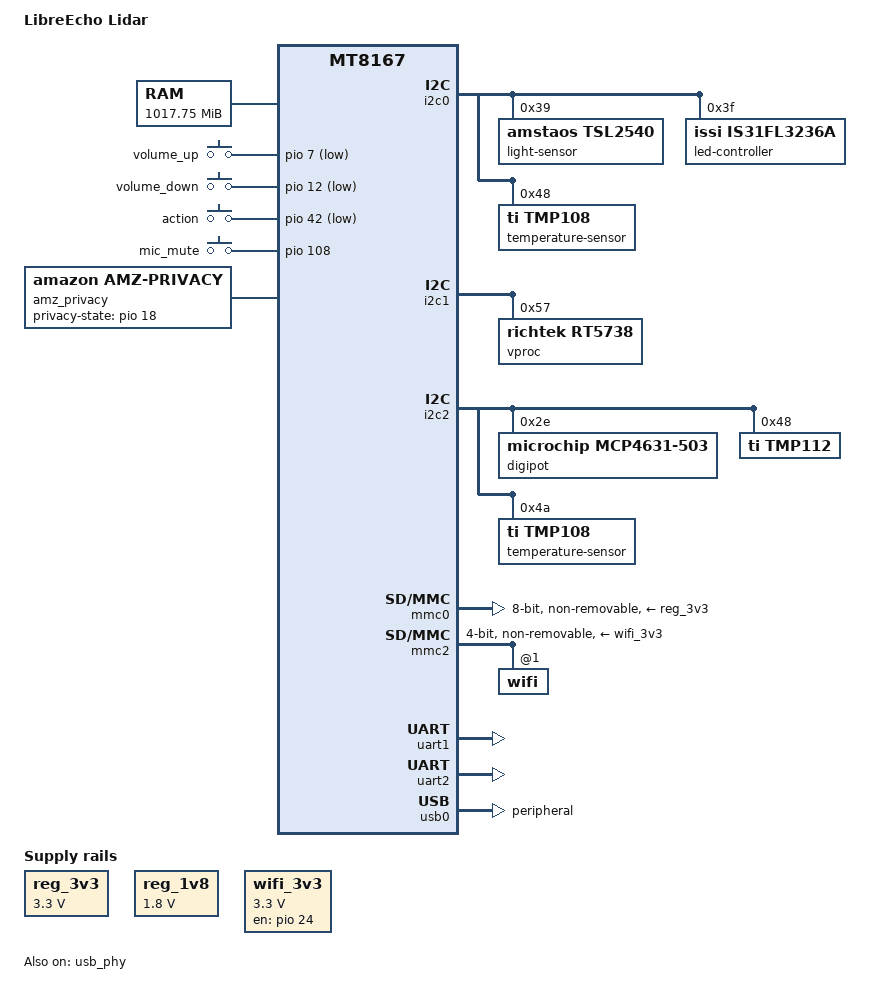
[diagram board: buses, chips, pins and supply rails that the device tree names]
// SPDX-License-Identifier: GPL-2.0
/*
 * LibreEcho Lidar - Amazon Echo Plus (2nd generation), MediaTek MT8167
 *
 * Board facts below come from the production stock device tree (boot_a.bin
 * appended FDT index 4, "amzn,lidar-pvt", sha256
 * b5302d9e4a672e7c2d06624d712746fe61fa30ed59183d85f253cec2775a730f) and the
 * stock kernel boot log.  Values that are inferred from upstream MT8167/
 * MT8516 support rather than observed in the stock tree are marked.
 *
 * The sound card, the AFE wiring and every codec node live in
 * libreecho-lidar-audio.dtsi, which this file includes at the end.
 */

/dts-v1/;

#include <dt-bindings/gpio/gpio.h>
#include <dt-bindings/input/input.h>
#include <dt-bindings/pinctrl/mt65xx.h>
#include "mt8167.dtsi"

/ {
	model = "LibreEcho Lidar";
	/*
	 * The first two entries are the stock PVT identity: LK scores appended
	 * DTBs against the idme board_id table, so a replacement DTB must keep
	 * them to be selected on stock firmware.  "amzn" is not a registered
	 * vendor prefix and these compatibles have no binding; they stay
	 * because the stock loader treats them as ABI.
	 */
	compatible = "amzn,lidar-pvt", "amzn,lidar", "mediatek,mt8167";

	aliases {
		serial0 = &uart0;
		serial1 = &uart1;
		serial2 = &uart2;
		i2c0 = &i2c0;
		i2c1 = &i2c1;
		i2c2 = &i2c2;
		/* SDIO host numbering: the MT7668 combo lands on mmc1. */
		mmc0 = &mmc0;
		mmc1 = &mmc2;
	};

	/*
	 * The stock tree's memory node says 0x20000000 (512 MiB), but the stock
	 * boot log reports 259984 pages and a memblock layout running to
	 * 0x7f9c0000: 1 GiB of DRAM at 0x40000000 minus the TEE carve-out at
	 * the top.  LK fixes up this node at boot; ending below the carve-out
	 * keeps the kernel off TEE memory even if a loader passes it unchanged.
	 */
	memory@40000000 {
		device_type = "memory";
		reg = <0 0x40000000 0 0x3f9c0000>;
	};

	reserved-memory {
		#address-cells = <2>;
		#size-cells = <2>;
		ranges;

		/*
		 * Inside the window the stock loader's `fetch` command can read,
		 * and outside every region this boot chain loads into: the
		 * kernel ends below 0x40950000, the ramdisk starts at
		 * 0x44000000, and LK's download window runs from 0x44fff000.
		 * One 0x10000 record, 0x40000 of console and 0x10000 of pmsg.
		 */
		ramoops@43810000 {
			compatible = "ramoops";
			reg = <0 0x43810000 0 0x60000>;
			record-size = <0x10000>;
			console-size = <0x40000>;
			pmsg-size = <0x10000>;
		};
	};

	/*
	 * The stock BL31 does not grant the kernel access to the PMU
	 * registers, so the armv8 PMU probe would hang once its driver is
	 * built in.
	 */
	pmu {
		status = "disabled";
	};

	/*
	 * The board has no PMIC: stock leaves pwrap disabled and gives it no
	 * child.  eMMC power comes from fixed rails (mmc_power 3.3 V,
	 * mmc_io 1.8 V), the CPU rail is the RT5739 buck on i2c1, and the
	 * SDIO rail is switched by GPIO24.
	 */
	reg_3v3: regulator-3v3 {
		compatible = "regulator-fixed";
		regulator-name = "mmc_power";
		regulator-min-microvolt = <3300000>;
		regulator-max-microvolt = <3300000>;
		regulator-always-on;
	};

	reg_1v8: regulator-1v8 {
		compatible = "regulator-fixed";
		regulator-name = "mmc_io";
		regulator-min-microvolt = <1800000>;
		regulator-max-microvolt = <1800000>;
		regulator-always-on;
	};

	wifi_3v3: regulator-wifi-3v3 {
		compatible = "regulator-fixed";
		regulator-name = "wifi_3v3";
		regulator-min-microvolt = <3300000>;
		regulator-max-microvolt = <3300000>;
		gpio = <&pio 24 GPIO_ACTIVE_HIGH>;
		enable-active-high;
		startup-delay-us = <500000>;
		/* The vendor driver holds PMU_EN low 5 ms when resetting the chip. */
		off-on-delay-us = <5000>;
		pinctrl-names = "default";
		pinctrl-0 = <&wifi_pmu_en_pins>;
	};

	/*
	 * Hardware-verified button map: volume on GPIO7/GPIO12, action on
	 * GPIO42 and microphone mute on GPIO108.  The microphone privacy latch
	 * state on GPIO18 is owned by amz_privacy below, not by gpio-keys.
	 * GPIO108 is active high with its pull disabled (bias-disable).
	 */
	gpio-keys {
		compatible = "gpio-keys";
		pinctrl-names = "default";
		pinctrl-0 = <&gpio_keys_pins>, <&board_hog_pins>;

		key-volume-up {
			label = "volume_up";
			gpios = <&pio 7 GPIO_ACTIVE_LOW>;
			linux,code = <KEY_VOLUMEUP>;
			debounce-interval = <50>;
			wakeup-source;
		};

		key-volume-down {
			label = "volume_down";
			gpios = <&pio 12 GPIO_ACTIVE_LOW>;
			linux,code = <KEY_VOLUMEDOWN>;
			debounce-interval = <50>;
			wakeup-source;
		};

		key-action {
			label = "action";
			gpios = <&pio 42 GPIO_ACTIVE_LOW>;
			/* Stock 0x8a: KEY_HELP, not KEY_PROPS. */
			linux,code = <KEY_HELP>;
			debounce-interval = <50>;
			wakeup-source;
		};

		key-mic-mute {
			label = "mic_mute";
			gpios = <&pio 108 GPIO_ACTIVE_HIGH>;
			linux,code = <KEY_MICMUTE>;
			debounce-interval = <50>;
			wakeup-source;
		};
	};

	/*
	 * The mute button drives a hardware latch that cuts the microphones.
	 * The latched state is a read-only line: the driver reports it through
	 * its privacy_state attribute and cannot drive it from software.
	 */
	amz_privacy {
		compatible = "amazon,amz-privacy";
		pinctrl-names = "default";
		pinctrl-0 = <&privacy_state_pins>;
		privacy-state-gpios = <&pio 18 GPIO_ACTIVE_HIGH>;
	};

	thermal-zones {
		/*
		 * Stock (production DTB, "amzn,lidar-pvt", appended FDT 4)
		 * runs its skin/case policy off virtual sensors built from
		 * these same board thermistors: passive at 55/57/58/59 C and
		 * critical at 60 C, mapped onto the CPU cooling device.  The
		 * Amazon virtual-sensor and thermal_cooler drivers have no
		 * mainline counterpart, so the tmp112 (the board sensor that
		 * stock feeds into its high-CPU and ambient models) carries
		 * the same thresholds directly.  The 55 C step allowed no
		 * frequency reduction downstream (cooling state 0), so it is
		 * a notification ("hot") here; the three steps that did
		 * throttle map onto cpufreq cooling states 0-3.
		 */
		board-thermal {
			polling-delay = <1000>;
			polling-delay-passive = <1000>;
			thermal-sensors = <&tmp112>;

			trips {
				board_hot: board-hot {
					temperature = <55000>;
					hysteresis = <500>;
					type = "hot";
				};

				board_passive0: board-passive0 {
					temperature = <57000>;
					hysteresis = <500>;
					type = "passive";
				};

				board_passive1: board-passive1 {
					temperature = <58000>;
					hysteresis = <500>;
					type = "passive";
				};

				board_passive2: board-passive2 {
					temperature = <59000>;
					hysteresis = <500>;
					type = "passive";
				};

				board_critical: board-critical {
					temperature = <60000>;
					hysteresis = <500>;
					type = "critical";
				};
			};

			cooling-maps {
				map0 {
					trip = <&board_passive0>;
					cooling-device = <&cpu0 0 1>;
				};

				map1 {
					trip = <&board_passive1>;
					cooling-device = <&cpu0 1 2>;
				};

				map2 {
					trip = <&board_passive2>;
					cooling-device = <&cpu0 2 3>;
				};
			};
		};
	};
};

/*
 * The stock console is uart0 at 0x11005000 ("serial0"), but its node stays
 * disabled: with no console attached the serial core powers the port down,
 * and mtk8250_runtime_suspend() polls MTK_UART_DEBUG0 without a bound.  After
 * LK that register never reads zero, so probe would never return.  Console
 * output, when wanted, has to come from the kernel command line.
 */
&cpu0 {
	/delete-property/ cpu-idle-states;
	proc-supply = <&vproc>;
	#cooling-cells = <2>;
};

/*
 * Stock idles in plain WFI.  The inherited CLUSTER_SLEEP_0 PSCI state is
 * unproven against the stock BL31, so a build with CPU_IDLE must not enter it.
 */
&cpu1 {
	/delete-property/ cpu-idle-states;
	proc-supply = <&vproc>;
};

&cpu2 {
	/delete-property/ cpu-idle-states;
	proc-supply = <&vproc>;
};

&cpu3 {
	/delete-property/ cpu-idle-states;
	proc-supply = <&vproc>;
};

/*
 * i2c0: light sensor, IS31FL3236A light-ring controller and a temperature
 * sensor.
 */
&i2c0 {
	pinctrl-names = "default";
	pinctrl-0 = <&i2c0_pins>;
	status = "okay";

	/*
	 * Behind the top cover; the vendor DT does not wire up its interrupt.
	 * The vendor driver refuses to probe without als_name, and it takes
	 * every calibration value from DT once platform data exists (with no
	 * properties its default branch never runs), so the coefficients come
	 * from the stock PVT node, as does the device name.  boot-on is the
	 * driver's existing switch for enabling ALS in probe; without it the
	 * chip stays powered down and als_lux reads 0 forever.
	 */
	light-sensor@39 {
		compatible = "amstaos,tsl2540";
		reg = <0x39>;
		als_name = "taos_als";
		boot-on;
		persist = <0x12>;
		als_gain = <0x03>;
		als_gain_factor = <0x01>;
		als_deltap = <0x0a>;
		als_time = <0x7b>;
		d_factor = <0x51342>;
		ch0_coef0 = <0x3e8>;
		ch1_coef0 = <0xf1>;
		ch0_coef1 = <0x40b>;
		ch1_coef1 = <0x131>;
		az_iterations = <0x7e>;
		als_can_wake = <0x00>;
	};

	/*
	 * The A variant has the PWM frequency register (0x4b); the default
	 * 3 kHz PWM is audible through the speaker.  Channel offset and the
	 * boot animation flag match the stock tree; the driver has no
	 * enable-gpio property, so the shutdown bar is driven high by its
	 * pinctrl state.
	 */
	led-controller@3f {
		compatible = "issi,is31fl3236a";
		reg = <0x3f>;
		#address-cells = <1>;
		#size-cells = <0>;
		pinctrl-names = "default";
		pinctrl-0 = <&led_sdb_pins>;
		issi,22khz-pwm;
		channel-offset = /bits/ 8 <3>;
		play-boot-animation;

		/*
		 * Twelve RGB LEDs: LED n uses channels 3n-2 (red),
		 * 3n-1 (green) and 3n (blue).
		 */
		led@1 { reg = <1>; label = "ring1:red"; };
		led@2 { reg = <2>; label = "ring1:green"; };
		led@3 { reg = <3>; label = "ring1:blue"; };
		led@4 { reg = <4>; label = "ring2:red"; };
		led@5 { reg = <5>; label = "ring2:green"; };
		led@6 { reg = <6>; label = "ring2:blue"; };
		led@7 { reg = <7>; label = "ring3:red"; };
		led@8 { reg = <8>; label = "ring3:green"; };
		led@9 { reg = <9>; label = "ring3:blue"; };
		led@a { reg = <10>; label = "ring4:red"; };
		led@b { reg = <11>; label = "ring4:green"; };
		led@c { reg = <12>; label = "ring4:blue"; };
		led@d { reg = <13>; label = "ring5:red"; };
		led@e { reg = <14>; label = "ring5:green"; };
		led@f { reg = <15>; label = "ring5:blue"; };
		led@10 { reg = <16>; label = "ring6:red"; };
		led@11 { reg = <17>; label = "ring6:green"; };
		led@12 { reg = <18>; label = "ring6:blue"; };
		led@13 { reg = <19>; label = "ring7:red"; };
		led@14 { reg = <20>; label = "ring7:green"; };
		led@15 { reg = <21>; label = "ring7:blue"; };
		led@16 { reg = <22>; label = "ring8:red"; };
		led@17 { reg = <23>; label = "ring8:green"; };
		led@18 { reg = <24>; label = "ring8:blue"; };
		led@19 { reg = <25>; label = "ring9:red"; };
		led@1a { reg = <26>; label = "ring9:green"; };
		led@1b { reg = <27>; label = "ring9:blue"; };
		led@1c { reg = <28>; label = "ring10:red"; };
		led@1d { reg = <29>; label = "ring10:green"; };
		led@1e { reg = <30>; label = "ring10:blue"; };
		led@1f { reg = <31>; label = "ring11:red"; };
		led@20 { reg = <32>; label = "ring11:green"; };
		led@21 { reg = <33>; label = "ring11:blue"; };
		led@22 { reg = <34>; label = "ring12:red"; };
		led@23 { reg = <35>; label = "ring12:green"; };
		led@24 { reg = <36>; label = "ring12:blue"; };
	};

	temperature-sensor@48 {
		compatible = "ti,tmp108";
		reg = <0x48>;
		#thermal-sensor-cells = <0>;
	};
};

/*
 * CPU rail: Richtek RT5738 buck at 0x57.  Measured on a PVT unit: ID1/ID2
 * read 0 (RT5739-class 300-1300 mV, 5 mV steps), both banks hold 0xaa
 * (1.150 V), and VSEL (GPIO9) is an input pulled high, so the active bank is
 * NSEL1.  GPIO9 is left untouched.
 */
&i2c1 {
	pinctrl-names = "default";
	pinctrl-0 = <&i2c1_pins>;
	status = "okay";

	vproc: regulator@57 {
		compatible = "richtek,rt5738";
		reg = <0x57>;
		regulator-name = "vproc";
		regulator-min-microvolt = <1150000>;
		regulator-max-microvolt = <1300000>;
		regulator-always-on;
		regulator-boot-on;
		richtek,vsel-active-high;
	};
};

/* i2c2: digipot and the two board temperature sensors. */
&i2c2 {
	pinctrl-names = "default";
	pinctrl-0 = <&i2c2_pins>;
	status = "okay";

	digipot@2e {
		compatible = "microchip,mcp4631-503";
		reg = <0x2e>;
	};

	tmp112: temperature-sensor@48 {
		compatible = "ti,tmp112";
		reg = <0x48>;
		#thermal-sensor-cells = <0>;
	};

	temperature-sensor@4a {
		compatible = "ti,tmp108";
		reg = <0x4a>;
		#thermal-sensor-cells = <0>;
	};
};

&mmc0 {
	bus-width = <8>;
	max-frequency = <200000000>;
	non-removable;
	cap-mmc-highspeed;
	mmc-hs200-1_8v;
	cap-mmc-hw-reset;
	vmmc-supply = <&reg_3v3>;
	vqmmc-supply = <&reg_1v8>;
	pinctrl-names = "default", "state_uhs";
	pinctrl-0 = <&mmc0_pins_default>;
	pinctrl-1 = <&mmc0_pins_uhs>;
	status = "okay";
};

/*
 * MSDC2 carries the MT7668 Wi-Fi/Bluetooth combo as a non-removable SDIO
 * card (function 1 WLAN, function 2 Bluetooth).  The pads are fixed 1.8 V,
 * so no vqmmc is described; the 3.3 V rail is switched by GPIO24.
 */
&mmc2 {
	/* mtk-sd fails the probe without a "state_uhs" pinctrl state. */
	pinctrl-names = "default", "state_uhs";
	pinctrl-0 = <&mmc2_pins_default>;
	pinctrl-1 = <&mmc2_pins_default>;
	bus-width = <4>;
	max-frequency = <200000000>;
	cap-sd-highspeed;
	sd-uhs-sdr50;
	sd-uhs-sdr104;
	cap-sdio-irq;
	keep-power-in-suspend;
	wakeup-source;
	non-removable;
	no-sd;
	no-mmc;
	vmmc-supply = <&wifi_3v3>;
	#address-cells = <1>;
	#size-cells = <0>;
	status = "okay";

	/* SDIO function 1 = WLAN (037a:7608), function 2 = Bluetooth (btmtksdio). */
	wifi: wifi@1 {
		reg = <1>;
	};
};

&pio {
	/*
	 * Board-level line defaults.  They are applied through the gpio-keys
	 * and LED controller pinctrl states and the lines stay unclaimed, so
	 * userspace can drive them (e.g. EFR32_SWCLK, the EFR32 bootloader
	 * trigger: low keeps the radio in its bootloader after a reset).
	 */
	gpio-line-names =
		/*  0 */ "", "EFR32_SWCLK", "MIC_ADC_EN", "", "LED_SDB",
		/*  5 */ "", "", "KEY_VOL_UP", "", "VPROC_VSEL",
		/* 10 */ "DAC_RESET", "", "KEY_VOL_DOWN", "EFR32_RESET_N", "",
		/* 15 */ "", "", "", "MIC_PRIVACY_STATE", "",
		/* 20 */ "", "", "", "EFR32_PTI_FRAME", "WIFI_PMU_EN";

	board_hog_pins: board-hog-pins {
		pins-efr32-run {
			/* EFR32 out of reset, SWD clock idle low (stock rfkill defaults). */
			pinmux = <MT8167_PIN_13_EINT13__FUNC_GPIO13>;
			output-high;
		};

		pins-efr32-swclk {
			pinmux = <MT8167_PIN_1_EINT1__FUNC_GPIO1>;
			output-low;
		};

		pins-privacy-enable {
			/*
			 * GPIO107 (active low) lets software force privacy mode
			 * on; keep it released.
			 */
			pinmux = <MT8167_PIN_107_MSDC1_DAT1__FUNC_GPIO107>;
			output-high;
		};
	};

	led_sdb_pins: led-sdb-pins {
		pins-sdb {
			/* IS31FL3236 SDB: low is hardware shutdown. */
			pinmux = <MT8167_PIN_4_EINT4__FUNC_GPIO4>;
			output-high;
		};
	};

	gpio_keys_pins: gpio-keys-pins {
		pins-keys {
			pinmux = <MT8167_PIN_7_EINT7__FUNC_GPIO7>,
				 <MT8167_PIN_12_EINT12__FUNC_GPIO12>,
				 <MT8167_PIN_42_KPCOL0__FUNC_GPIO42>;
			bias-pull-up;
			input-enable;
		};

		/* Active high, pull disabled: the button drives the line. */
		pins-mic-mute {
			pinmux = <MT8167_PIN_108_MSDC1_DAT2__FUNC_GPIO108>;
			bias-disable;
			input-enable;
		};
	};

	privacy_state_pins: privacy-state-pins {
		pins-privacy-state {
			pinmux = <MT8167_PIN_18_EINT18__FUNC_GPIO18>;
			bias-disable;
			input-enable;
		};
	};

	i2c0_pins: i2c0-pins {
		pins-bus {
			pinmux = <MT8167_PIN_58_SDA0__FUNC_SDA0_0>,
				 <MT8167_PIN_59_SCL0__FUNC_SCL0_0>;
			bias-disable;
		};
	};

	i2c1_pins: i2c1-pins {
		pins-bus {
			pinmux = <MT8167_PIN_52_SDA1__FUNC_SDA1_0>,
				 <MT8167_PIN_53_SCL1__FUNC_SCL1_0>;
			bias-disable;
		};
	};

	i2c2_pins: i2c2-pins {
		pins-bus {
			pinmux = <MT8167_PIN_60_SDA2__FUNC_SDA2_0>,
				 <MT8167_PIN_61_SCL2__FUNC_SCL2_0>;
			bias-disable;
		};
	};

	mmc0_pins_default: mmc0-pins-default-0 {
		pins-cmd-dat {
			pinmux = <MT8167_PIN_120_MSDC0_DAT0__FUNC_MSDC0_DAT0>,
				 <MT8167_PIN_119_MSDC0_DAT1__FUNC_MSDC0_DAT1>,
				 <MT8167_PIN_118_MSDC0_DAT2__FUNC_MSDC0_DAT2>,
				 <MT8167_PIN_117_MSDC0_DAT3__FUNC_MSDC0_DAT3>,
				 <MT8167_PIN_113_MSDC0_DAT4__FUNC_MSDC0_DAT4>,
				 <MT8167_PIN_112_MSDC0_DAT5__FUNC_MSDC0_DAT5>,
				 <MT8167_PIN_111_MSDC0_DAT6__FUNC_MSDC0_DAT6>,
				 <MT8167_PIN_110_MSDC0_DAT7__FUNC_MSDC0_DAT7>,
				 <MT8167_PIN_115_MSDC0_CMD__FUNC_MSDC0_CMD>;
			input-enable;
			bias-pull-up;
		};

		pins-clk {
			pinmux = <MT8167_PIN_116_MSDC0_CLK__FUNC_MSDC0_CLK>;
			bias-pull-down;
		};

		pins-rst {
			pinmux = <MT8167_PIN_114_MSDC0_RSTB__FUNC_MSDC0_RSTB>;
			bias-pull-up;
		};
	};

	mmc0_pins_uhs: mmc0-pins-uhs-1 {
		pins-cmd-dat {
			pinmux = <MT8167_PIN_120_MSDC0_DAT0__FUNC_MSDC0_DAT0>,
				 <MT8167_PIN_119_MSDC0_DAT1__FUNC_MSDC0_DAT1>,
				 <MT8167_PIN_118_MSDC0_DAT2__FUNC_MSDC0_DAT2>,
				 <MT8167_PIN_117_MSDC0_DAT3__FUNC_MSDC0_DAT3>,
				 <MT8167_PIN_113_MSDC0_DAT4__FUNC_MSDC0_DAT4>,
				 <MT8167_PIN_112_MSDC0_DAT5__FUNC_MSDC0_DAT5>,
				 <MT8167_PIN_111_MSDC0_DAT6__FUNC_MSDC0_DAT6>,
				 <MT8167_PIN_110_MSDC0_DAT7__FUNC_MSDC0_DAT7>,
				 <MT8167_PIN_115_MSDC0_CMD__FUNC_MSDC0_CMD>;
			input-enable;
			drive-strength = <MTK_DRIVE_6mA>;
			bias-pull-up = <MTK_PUPD_SET_R1R0_01>;
		};

		pins-clk {
			pinmux = <MT8167_PIN_116_MSDC0_CLK__FUNC_MSDC0_CLK>;
			drive-strength = <MTK_DRIVE_8mA>;
			bias-pull-down = <MTK_PUPD_SET_R1R0_10>;
		};

		pins-rst {
			pinmux = <MT8167_PIN_114_MSDC0_RSTB__FUNC_MSDC0_RSTB>;
			bias-pull-up;
		};
	};

	mmc2_pins_default: mmc2-pins-default {
		pins-cmd-dat {
			pinmux = <MT8167_PIN_68_MSDC2_CMD__FUNC_MSDC2_CMD>,
				 <MT8167_PIN_70_MSDC2_DAT0__FUNC_MSDC2_DAT0>,
				 <MT8167_PIN_71_MSDC2_DAT1__FUNC_MSDC2_DAT1>,
				 <MT8167_PIN_72_MSDC2_DAT2__FUNC_MSDC2_DAT2>,
				 <MT8167_PIN_73_MSDC2_DAT3__FUNC_MSDC2_DAT3>;
			input-enable;
			drive-strength = <MTK_DRIVE_8mA>;
			bias-pull-up = <MTK_PUPD_SET_R1R0_10>;
		};

		pins-clk {
			pinmux = <MT8167_PIN_69_MSDC2_CLK__FUNC_MSDC2_CLK>;
			drive-strength = <MTK_DRIVE_8mA>;
			bias-pull-down = <MTK_PUPD_SET_R1R0_10>;
		};
	};

	uart1_pins: uart1-pins {
		pins-rx {
			pinmux = <MT8167_PIN_64_URXD1__FUNC_URXD1>;
			bias-pull-up;
		};

		pins-tx {
			pinmux = <MT8167_PIN_65_UTXD1__FUNC_UTXD1>;
		};
	};

	uart2_pins: uart2-pins {
		pins-rx {
			pinmux = <MT8167_PIN_34_URXD2__FUNC_URXD2>;
			bias-pull-up;
		};

		pins-tx {
			pinmux = <MT8167_PIN_35_UTXD2__FUNC_UTXD2>;
		};

		pins-flow {
			pinmux = <MT8167_PIN_5_EINT5__FUNC_UCTS2>,
				 <MT8167_PIN_6_EINT6__FUNC_URTS2>;
		};
	};

	wifi_pmu_en_pins: wifi-pmu-en-pins {
		pins-pmu-en {
			pinmux = <MT8167_PIN_24_EINT24__FUNC_GPIO24>;
			bias-disable;
		};
	};
};

/*
 * The board has no PMIC.  Stock leaves pwrap disabled and gives it no child;
 * keep that, since the real rails are described above and on i2c1.
 */
&pwrap {
	status = "disabled";
};

/*
 * Software reboot to fastboot.  Stock LK enters fastboot when bit 2 of the
 * TOPRGU WDT_NONRST2 register at 0x10007024 survives a watchdog reset.  The
 * reboot-mode notifier writes that bit before the restart chain runs, so user
 * space only needs reboot(LINUX_REBOOT_CMD_RESTART2, "bootloader") and does
 * not touch misc.
 *
 * syscon-reboot-mode takes its regmap from the parent node, and that lookup
 * requires the parent to be compatible "syscon".  The child only becomes a
 * platform device because of_platform_populate() walks children of
 * "simple-mfd" nodes (of_default_bus_match_table).  Both compatibles come
 * after the watchdog ones so mtk_wdt still binds.
 */
&toprgu {
	compatible = "mediatek,mt8516-wdt", "mediatek,mt6589-wdt",
		     "syscon", "simple-mfd";

	reboot-mode {
		compatible = "syscon-reboot-mode";
		offset = <0x24>;
		mask = <0x4>;
		mode-bootloader = <0x4>;
	};
};

/* Silicon Labs EFR32 radio: packet trace (PTI) output, as stock's zigbee_pti. */
&uart1 {
	pinctrl-names = "default";
	pinctrl-0 = <&uart1_pins>;
	status = "okay";
};

/*
 * Silicon Labs EFR32 radio: host interface for its Gecko bootloader and the
 * NCP/RCP application, 115200 8N1.  RTS/CTS are wired, but the bootloader
 * never drives CTS, so the port is left without uart-has-rtscts and the
 * radio tools open it with crtscts off.  Enabling hardware flow control
 * would make the 8250 driver hold transmit until CTS asserts, and the radio
 * bootloader menu never asserts it.
 */
&uart2 {
	pinctrl-names = "default";
	pinctrl-0 = <&uart2_pins>;
	status = "okay";
};

/*
 * USB device port on the in-SoC MUSB controller.  Stock uses
 * "mediatek,mt8167-usb20" with 8-bit FIFOs and OTG; this bring-up keeps the
 * inherited mt8516 compatibles so the stock upstream mtk-musb glue binds,
 * in a peripheral role.
 */
&usb0 {
	dr_mode = "peripheral";
	status = "okay";
};

&usb_phy {
	status = "okay";
};

#include "libreecho-lidar-audio.dtsi"
